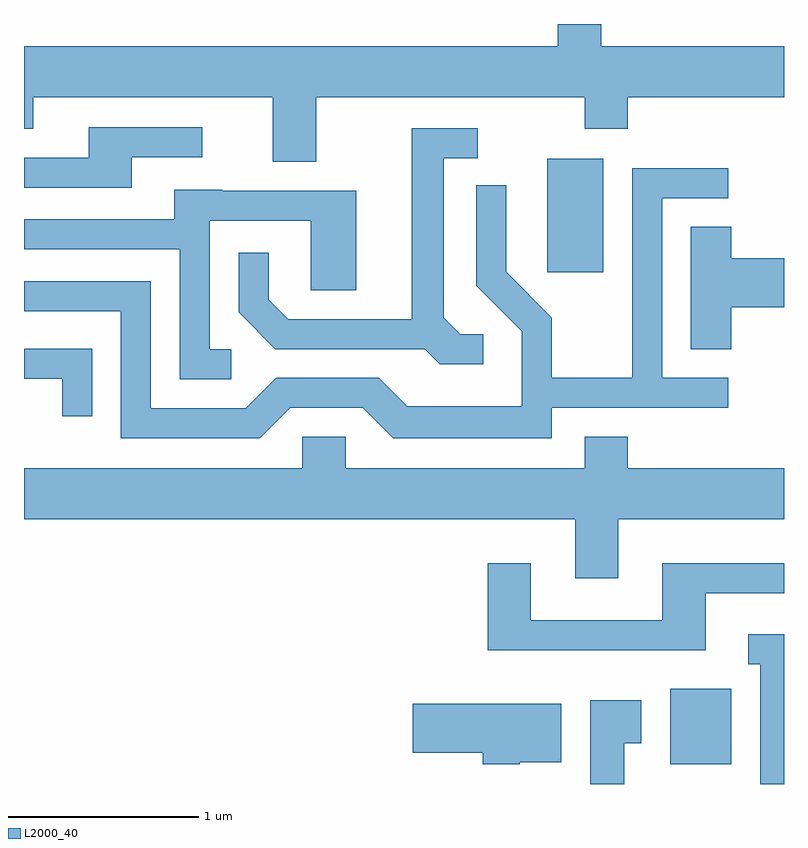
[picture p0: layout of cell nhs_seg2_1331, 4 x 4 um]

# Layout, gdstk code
import gdstk
lib = gdstk.Library(unit=1e-6, precision=1e-09)
def R(c, l, rs):  # rectangles x0, y0, x1, y1
    for r in rs: c.add(gdstk.rectangle(r[:2], r[2:], *l))
def P(c, l, *ps):  # polygons
    for p in ps: c.add(gdstk.Polygon(p, *l))
L2000_40 = (2000, 40)

nhs_seg2_1331 = lib.new_cell('nhs_seg2_1331')
R(nhs_seg2_1331, L2000_40, [(227.011,1055.906,227.334,1056.304), (226.366,1058.496,226.659,1059.094)])
P(nhs_seg2_1331, L2000_40, [(225.149,1059.416),(226.561,1059.416),(226.561,1059.251),(226.789,1059.251),(226.789,1059.416),(227.611,1059.416),(227.611,1059.684),(226.649,1059.684),(226.649,1059.802),(226.421,1059.802),(226.421,1059.684),(223.611,1059.684),(223.611,1059.251),(223.659,1059.251),(223.659,1059.416),(224.921,1059.416),(224.921,1059.076),(225.149,1059.076)],
  [(224.179,1059.101),(224.548,1059.101),(224.548,1059.259),(223.951,1059.259),(223.951,1059.099),(223.611,1059.099),(223.611,1058.941),(224.179,1058.941)],
  [(226.028,1058.169),(225.907,1058.169),(225.819,1058.257),(225.819,1059.096),(225.998,1059.096),(225.998,1059.254),(225.651,1059.254),(225.651,1058.249),(225.002,1058.249),(224.899,1058.352),(224.899,1058.598),(224.741,1058.598),(224.741,1058.284),(224.934,1058.091),(225.719,1058.091),(225.799,1058.011),(226.028,1058.011)],
  [(225.012,1057.781),(225.394,1057.781),(225.554,1057.621),(226.389,1057.621),(226.389,1057.781),(227.318,1057.781),(227.318,1057.939),(226.969,1057.939),(226.969,1058.886),(227.318,1058.886),(227.318,1059.044),(226.811,1059.044),(226.811,1057.939),(226.389,1057.939),(226.389,1058.257),(226.149,1058.497),(226.149,1058.953),(225.991,1058.953),(225.991,1058.424),(226.231,1058.184),(226.231,1057.789),(225.627,1057.789),(225.477,1057.939),(224.939,1057.939),(224.779,1057.779),(224.279,1057.779),(224.279,1058.449),(223.611,1058.449),(223.611,1058.291),(224.121,1058.291),(224.121,1057.621),(224.852,1057.621)],
  [(224.703,1058.089),(224.589,1058.089),(224.589,1058.766),(225.121,1058.766),(225.121,1058.401),(225.359,1058.401),(225.359,1058.924),(224.655,1058.924),(224.655,1058.929),(224.401,1058.929),(224.401,1058.774),(223.611,1058.774),(223.611,1058.616),(224.431,1058.616),(224.431,1057.931),(224.703,1057.931)],
  [(227.334,1058.311),(227.611,1058.311),(227.611,1058.569),(227.334,1058.569),(227.334,1058.734),(227.121,1058.734),(227.121,1058.091),(227.334,1058.091)],
  [(223.969,1058.094),(223.611,1058.094),(223.611,1057.936),(223.811,1057.936),(223.811,1057.738),(223.969,1057.738)],
  [(226.739,1057.196),(227.611,1057.196),(227.611,1057.464),(226.789,1057.464),(226.789,1057.629),(226.561,1057.629),(226.561,1057.464),(225.304,1057.464),(225.304,1057.629),(225.076,1057.629),(225.076,1057.464),(223.611,1057.464),(223.611,1057.196),(226.511,1057.196),(226.511,1056.886),(226.739,1056.886)],
  [(227.199,1056.806),(227.611,1056.806),(227.611,1056.964),(226.971,1056.964),(226.971,1056.664),(226.279,1056.664),(226.279,1056.964),(226.051,1056.964),(226.051,1056.506),(227.199,1056.506)],
  [(227.611,1056.589),(227.423,1056.589),(227.423,1056.431),(227.486,1056.431),(227.486,1055.802),(227.611,1055.802)],
  [(226.769,1056.016),(226.859,1056.016),(226.859,1056.244),(226.591,1056.244),(226.591,1055.802),(226.769,1055.802)],
  [(226.22,1055.916),(226.439,1055.916),(226.439,1056.224),(225.656,1056.224),(225.656,1055.966),(226.026,1055.966),(226.026,1055.906),(226.22,1055.906)])

lib.write_gds('nhs_seg2_1331.gds')
